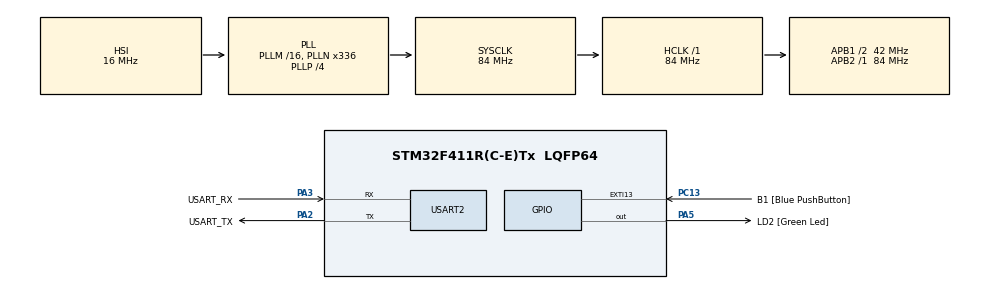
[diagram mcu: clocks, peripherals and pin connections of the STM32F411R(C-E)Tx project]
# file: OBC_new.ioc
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FATFS._MAX_SS=512
FATFS._MIN_SS=512
FATFS._USE_FASTSEEK=0
FATFS._USE_MUTEX=1
FREERTOS.BinarySemaphores01=file_semaphore,Static,file_semaphoreControlBlock,
FREERTOS.Mutexes01=myFileMutex,Static,myFileMutexControlBlock,Depleted;myPrintMutex,Static,myPrintMutexControlBlock,Depleted
FREERTOS.Queues01=commandQueue,16,uint16_t,0,Static,commandQueueBuffer,commandQueueControlBlock;dataQueue,16,uint16_t,0,Static,dataQueueBuffer,dataQueueControlBlock;TTQ,16,uint16_t,0,Static,TTQBuffer,TTQControlBlock;errorQueue,16,uint16_t,0,Static,errorQueueBuffer,errorQueueControlBlock;TC,16,uint16_t,0,Static,TCBuffer,TCControlBlock;GsQueue,16,uint16_t,0,Static,GsQueueBuffer,GsQueueControlBlock
FREERTOS.Tasks01=defaultTask,24,128,StartDefaultTask,Default,NULL,Dynamic,NULL,NULL;FAT_w_task,24,512,StartTask_FAT_w,Default,NULL,Static,FAT_w_task_Buffer,FAT_w_task_ControlBlock;FAT_r_task,24,512,StartTask_FAT_r,Default,NULL,Static,Task_FAT_r_Buffer,Task_FAT_r_ControlBlock;communTask,24,512,StartTask_communTask,Default,NULL,Static,communTaskBuffer,communTaskControlBlock;cmdHandleTask,24,512,StartTask_cmdHandle,Default,NULL,Static,cmdHandleTaskBuffer,cmdHandleTaskControlBlock
FREERTOS.Timers01=DetumblingTimer,Callback01,osTimerPeriodic,Default,NULL,Static,DetumblingTimerControlBlock;MasterTimer,Callback02,osTimerPeriodic,Default,NULL,Static,MasterControlBlock
FREERTOS.configUSE_NEWLIB_REENTRANT=1
Mcu.Family=STM32F4
Mcu.Name=STM32F411R(C-E)Tx
Mcu.Package=LQFP64
NVIC.PriorityGroup=NVIC_PRIORITYGROUP_4
NVIC.TIM1_UP_TIM10_IRQn=true\:15\:0\:false\:false\:true\:false\:false\:true\:true
NVIC.TimeBase=TIM1_UP_TIM10_IRQn
NVIC.TimeBaseIP=TIM1
NVIC.USART2_IRQn=true\:5\:0\:false\:false\:true\:true\:true\:true\:true
PA13.GPIO_Label=TMS
PA13.Mode=Serial_Wire
PA13.Signal=SYS_JTMS-SWDIO
PA14.GPIO_Label=TCK
PA14.Mode=Serial_Wire
PA14.Signal=SYS_JTCK-SWCLK
PA2.GPIO_Label=USART_TX
PA2.Mode=Asynchronous
PA2.Signal=USART2_TX
PA3.GPIO_Label=USART_RX
PA3.Mode=Asynchronous
PA3.Signal=USART2_RX
PA5.GPIO_Label=LD2 [Green Led]
PA5.Signal=GPIO_Output
PB3.GPIO_Label=SWO
PB3.Signal=SYS_JTDO-SWO
PC13-ANTI_TAMP.GPIO_Label=B1 [Blue PushButton]
PC13-ANTI_TAMP.GPIO_ModeDefaultEXTI=GPIO_MODE_IT_FALLING
PC13-ANTI_TAMP.Signal=GPXTI13
PC14-OSC32_IN.Mode=LSE-External-Oscillator
PC14-OSC32_IN.Signal=RCC_OSC32_IN
PC15-OSC32_OUT.Mode=LSE-External-Oscillator
PC15-OSC32_OUT.Signal=RCC_OSC32_OUT
PH0\ -\ OSC_IN.Mode=HSE-External-Clock-Source
PH0\ -\ OSC_IN.Signal=RCC_OSC_IN
PH1\ -\ OSC_OUT.Mode=HSE-External-Clock-Source
PH1\ -\ OSC_OUT.Signal=RCC_OSC_OUT
ProjectManager.HeapSize=0x200
ProjectManager.StackSize=0x400
ProjectManager.TargetToolchain=STM32CubeIDE
RCC.48MHZClocksFreq_Value=84000000
RCC.AHBFreq_Value=84000000
RCC.APB1CLKDivider=RCC_HCLK_DIV2
RCC.APB1Freq_Value=42000000
RCC.APB1TimFreq_Value=84000000
RCC.APB2Freq_Value=84000000
RCC.APB2TimFreq_Value=84000000
RCC.CortexFreq_Value=84000000
RCC.FLatency-AdvancedSettings=FLASH_LATENCY_2
RCC.HCLKFreq_Value=84000000
RCC.HSE_VALUE=8000000
RCC.HSI_VALUE=16000000
RCC.PLLN=336
RCC.PLLP=RCC_PLLP_DIV4
RCC.SYSCLKFreq_VALUE=84000000
RCC.SYSCLKSource=RCC_SYSCLKSOURCE_PLLCLK
RCC.VCOOutputFreq_Value=336000000
RTC.Date=25
RTC.Month=RTC_MONTH_FEBRUARY
RTC.WeekDay=RTC_WEEKDAY_TUESDAY
RTC.Year=25
USART2.VirtualMode=VM_ASYNC
VP_FATFS_VS_Generic.Mode=User_defined
VP_FREERTOS_VS_CMSIS_V2.Mode=CMSIS_V2
VP_RTC_VS_RTC_Activate.Mode=RTC_Enabled
VP_RTC_VS_RTC_Calendar.Mode=RTC_Calendar
VP_SYS_VS_tim1.Mode=TIM1
board=NUCLEO-F411RE

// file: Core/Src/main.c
/* USER CODE BEGIN Header */
/**
  ******************************************************************************
  * @file           : main.c
  * @brief          : Main program body
  ******************************************************************************
  * @attention
  *
  * Copyright (c) 2024 STMicroelectronics.
  * All rights reserved.
  *
  * This software is licensed under terms that can be found in the LICENSE file
  * in the root directory of this software component.
  * If no LICENSE file comes with this software, it is provided AS-IS.
  *
  ******************************************************************************
  */
/* USER CODE END Header */
#include "main.h"
#include "cmsis_os.h"
#include "fatfs.h"

/* USER CODE BEGIN Includes */
#include <stdio.h>
#include <stdarg.h>  // Required for va_list, va_start, va_end
#include <csp/csp.h>
#include <csp/interfaces/csp_if_lo.h>
/* USER CODE END Includes */

typedef StaticTask_t osStaticThreadDef_t;
typedef StaticQueue_t osStaticMessageQDef_t;
typedef StaticTimer_t osStaticTimerDef_t;
typedef StaticSemaphore_t osStaticMutexDef_t;
typedef StaticSemaphore_t osStaticSemaphoreDef_t;

RTC_HandleTypeDef hrtc;

UART_HandleTypeDef huart2;

/* Definitions for defaultTask */
osThreadId_t defaultTaskHandle;
const osThreadAttr_t defaultTask_attributes = {
  .name = "defaultTask",
  .stack_size = 128 * 4,
  .priority = (osPriority_t) osPriorityNormal,
};
/* Definitions for FAT_w_task */
osThreadId_t FAT_w_taskHandle;
uint32_t FAT_w_task_Buffer[ 512 ];
osStaticThreadDef_t FAT_w_task_ControlBlock;
const osThreadAttr_t FAT_w_task_attributes = {
  .name = "FAT_w_task",
  .cb_mem = &FAT_w_task_ControlBlock,
  .cb_size = sizeof(FAT_w_task_ControlBlock),
  .stack_mem = &FAT_w_task_Buffer[0],
  .stack_size = sizeof(FAT_w_task_Buffer),
  .priority = (osPriority_t) osPriorityNormal,
};
/* Definitions for FAT_r_task */
osThreadId_t FAT_r_taskHandle;
uint32_t Task_FAT_r_Buffer[ 512 ];
osStaticThreadDef_t Task_FAT_r_ControlBlock;
const osThreadAttr_t FAT_r_task_attributes = {
  .name = "FAT_r_task",
  .cb_mem = &Task_FAT_r_ControlBlock,
  .cb_size = sizeof(Task_FAT_r_ControlBlock),
  .stack_mem = &Task_FAT_r_Buffer[0],
  .stack_size = sizeof(Task_FAT_r_Buffer),
  .priority = (osPriority_t) osPriorityNormal,
};
/* Definitions for communTask */
osThreadId_t communTaskHandle;
uint32_t communTaskBuffer[ 512 ];
osStaticThreadDef_t communTaskControlBlock;
const osThreadAttr_t communTask_attributes = {
  .name = "communTask",
  .cb_mem = &communTaskControlBlock,
  .cb_size = sizeof(communTaskControlBlock),
  .stack_mem = &communTaskBuffer[0],
  .stack_size = sizeof(communTaskBuffer),
  .priority = (osPriority_t) osPriorityNormal,
};
/* Definitions for cmdHandleTask */
osThreadId_t cmdHandleTaskHandle;
uint32_t cmdHandleTaskBuffer[ 512 ];
osStaticThreadDef_t cmdHandleTaskControlBlock;
const osThreadAttr_t cmdHandleTask_attributes = {
  .name = "cmdHandleTask",
  .cb_mem = &cmdHandleTaskControlBlock,
  .cb_size = sizeof(cmdHandleTaskControlBlock),
  .stack_mem = &cmdHandleTaskBuffer[0],
  .stack_size = sizeof(cmdHandleTaskBuffer),
  .priority = (osPriority_t) osPriorityNormal,
};
/* Definitions for commandQueue */
osMessageQueueId_t commandQueueHandle;
uint8_t commandQueueBuffer[ 16 * sizeof( uint16_t ) ];
osStaticMessageQDef_t commandQueueControlBlock;
const osMessageQueueAttr_t commandQueue_attributes = {
  .name = "commandQueue",
  .cb_mem = &commandQueueControlBlock,
  .cb_size = sizeof(commandQueueControlBlock),
  .mq_mem = &commandQueueBuffer,
  .mq_size = sizeof(commandQueueBuffer)
};
/* Definitions for dataQueue */
osMessageQueueId_t dataQueueHandle;
uint8_t dataQueueBuffer[ 16 * sizeof( uint16_t ) ];
osStaticMessageQDef_t dataQueueControlBlock;
const osMessageQueueAttr_t dataQueue_attributes = {
  .name = "dataQueue",
  .cb_mem = &dataQueueControlBlock,
  .cb_size = sizeof(dataQueueControlBlock),
  .mq_mem = &dataQueueBuffer,
  .mq_size = sizeof(dataQueueBuffer)
};
/* Definitions for TTQ */
osMessageQueueId_t TTQHandle;
uint8_t TTQBuffer[ 16 * sizeof( uint16_t ) ];
osStaticMessageQDef_t TTQControlBlock;
const osMessageQueueAttr_t TTQ_attributes = {
  .name = "TTQ",
  .cb_mem = &TTQControlBlock,
  .cb_size = sizeof(TTQControlBlock),
  .mq_mem = &TTQBuffer,
  .mq_size = sizeof(TTQBuffer)
};
/* Definitions for errorQueue */
osMessageQueueId_t errorQueueHandle;
uint8_t errorQueueBuffer[ 16 * sizeof( uint16_t ) ];
osStaticMessageQDef_t errorQueueControlBlock;
const osMessageQueueAttr_t errorQueue_attributes = {
  .name = "errorQueue",
  .cb_mem = &errorQueueControlBlock,
  .cb_size = sizeof(errorQueueControlBlock),
  .mq_mem = &errorQueueBuffer,
  .mq_size = sizeof(errorQueueBuffer)
};
/* Definitions for TC */
osMessageQueueId_t TCHandle;
uint8_t TCBuffer[ 16 * sizeof( uint16_t ) ];
osStaticMessageQDef_t TCControlBlock;
const osMessageQueueAttr_t TC_attributes = {
  .name = "TC",
  .cb_mem = &TCControlBlock,
  .cb_size = sizeof(TCControlBlock),
  .mq_mem = &TCBuffer,
  .mq_size = sizeof(TCBuffer)
};
/* Definitions for GsQueue */
osMessageQueueId_t GsQueueHandle;
uint8_t GsQueueBuffer[ 16 * sizeof( uint16_t ) ];
osStaticMessageQDef_t GsQueueControlBlock;
const osMessageQueueAttr_t GsQueue_attributes = {
  .name = "GsQueue",
  .cb_mem = &GsQueueControlBlock,
  .cb_size = sizeof(GsQueueControlBlock),
  .mq_mem = &GsQueueBuffer,
  .mq_size = sizeof(GsQueueBuffer)
};
/* Definitions for DetumblingTimer */
osTimerId_t DetumblingTimerHandle;
osStaticTimerDef_t DetumblingTimerControlBlock;
const osTimerAttr_t DetumblingTimer_attributes = {
  .name = "DetumblingTimer",
  .cb_mem = &DetumblingTimerControlBlock,
  .cb_size = sizeof(DetumblingTimerControlBlock),
};
/* Definitions for MasterTimer */
osTimerId_t MasterTimerHandle;
osStaticTimerDef_t MasterControlBlock;
const osTimerAttr_t MasterTimer_attributes = {
  .name = "MasterTimer",
  .cb_mem = &MasterControlBlock,
  .cb_size = sizeof(MasterControlBlock),
};
/* Definitions for myFileMutex */
osMutexId_t myFileMutexHandle;
osStaticMutexDef_t myFileMutexControlBlock;
const osMutexAttr_t myFileMutex_attributes = {
  .name = "myFileMutex",
  .cb_mem = &myFileMutexControlBlock,
  .cb_size = sizeof(myFileMutexControlBlock),
};
/* Definitions for myPrintMutex */
osMutexId_t myPrintMutexHandle;
osStaticMutexDef_t myPrintMutexControlBlock;
const osMutexAttr_t myPrintMutex_attributes = {
  .name = "myPrintMutex",
  .cb_mem = &myPrintMutexControlBlock,
  .cb_size = sizeof(myPrintMutexControlBlock),
};
/* Definitions for file_semaphore */
osSemaphoreId_t file_semaphoreHandle;
osStaticSemaphoreDef_t file_semaphoreControlBlock;
const osSemaphoreAttr_t file_semaphore_attributes = {
  .name = "file_semaphore",
  .cb_mem = &file_semaphoreControlBlock,
  .cb_size = sizeof(file_semaphoreControlBlock),
};

void SystemClock_Config(void);
static void MX_GPIO_Init(void);
static void MX_USART2_UART_Init(void);
static void MX_RTC_Init(void);
void StartDefaultTask(void *argument);
void StartTask_FAT_w(void *argument);
void StartTask_FAT_r(void *argument);
void StartTask_communTask(void *argument);
void StartTask_cmdHandle(void *argument);
void Callback01(void *argument);
void Callback02(void *argument);

int main(void)
{

  /* USER CODE BEGIN 1 */

  // Statuses and flags of the subsystems of the satellite
  typedef struct {

    // Modes of the satellite
    enum Cubesat_Mode {
      STARTING,
      REBOOTING,
      NOMINAL,
      SAFE,
      GERROR, // General error
      WARNING
    }cubesat_mode;

    // Attitude Determination and Control System
    struct ADCS {
      enum Mode {
        ADCS_DETUMBLING,
        ADCS_NOMINAL,
        ADCS_SAFE,
        ADCS_COARSE,
        ADCS_POINTING,
        ADCS_PRECISE,
      }mode;
      bool isEssential;
    }adcs;

    // Electrical Power System
    struct EPS {
      bool isEssential;
    }eps;

    // Thermal Control System
    struct TCS {
      bool isEssential;
    }tcs;

    // Telemetry, Tracking, and Command
    struct TTC {
      bool isEssential;
    }ttc;

    // OnBoard Computer
    struct OBC {
      bool isEssential;
    }obc;
  } Subsystems;

  // Payload struct
  typedef struct
  {
    enum Payload_Status
    {
      PAYLOAD_ON,
      PAYLOAD_OFF,
      PAYLOAD_WARNING,
      PAYLOAD_GERROR // General error
    }payload_status;

    struct QPL
    {
      char data[50];
      enum Payload_Status status;
    }qpl;

    struct IS
    {
      char data[50];
      enum Payload_Status status;
    }is;

    struct MVS
    {
      char data[50];
      enum Payload_Status status;
    }mvs;

  } Payloads;

  /* USER CODE END 1 */

  /* MCU Configuration--------------------------------------------------------*/

  /* Reset of all peripherals, Initializes the Flash interface and the Systick. */
  HAL_Init();

  /* Configure the system clock */
  SystemClock_Config();

  /* Initialize all configured peripherals */
  MX_GPIO_Init();
  MX_USART2_UART_Init();
  MX_FATFS_Init();
  MX_RTC_Init();
  /* USER CODE BEGIN 2 */

  // Initialize CSP
  csp_init();  // Initialize the CSP protocol stack

  // Initialize CSP buffer system
  csp_buffer_init();

  // Configure the CSP routing table to use the loopback interface
  csp_rtable_set(0, 0, &csp_if_lo, CSP_NO_VIA_ADDRESS);  // Route all packets to the loopback interface

  // Create mutex before mounting
  myFileMutexHandle = osMutexNew(&myFileMutex_attributes);
  if(myFileMutexHandle == NULL)
  {
      Error_Handler();
  }

  // Mount filesystem
  FATFS fs;
  FRESULT fres;

  /* Use "0:" to specify drive number 0 for RAM disk */
  fres = f_mount(&fs, "0:", 1);
  if (fres == FR_NO_FILESYSTEM) {
      printf("No filesystem found. Formatting...\r\n");

      // Define a static work buffer to avoid stack overflow
      #define MKFS_WORK_BUFFER_SIZE  4096
      static BYTE mkfs_work_buffer[MKFS_WORK_BUFFER_SIZE];

      /*
       * Filesystem Formatting and RAM Disk Configuration
       * ------------------------------------------------
       * Problem:
       *  - `f_mkfs()` was failing with `FR_MKFS_ABORTED` because the volume size was too small after
       *    reserving 63 sectors for partitioning (when not using the super floppy format).
       *
       * Solution:
       * 1. Use Super Floppy Format (`FM_SFD`):
       *    - This avoids reserving 63 sectors by starting the volume at sector 0 (no partition table).
       *    - This ensures the full number of sectors is available for the filesystem.
       *
       * 2. Increase Sector Count:
       *    - FAT requires a minimum of 128 sectors. The RAM disk was increased to 150 sectors to satisfy this requirement.
       *
       * 3. Sector Size:
       *    - The sector size is set to 512 bytes, which is standard for FAT filesystems.
       *    - With 150 sectors of 512 bytes, the total size of the RAM disk is ~75KB, sufficient for FAT12/FAT16.
       *
       * `f_mkfs()` Call:
       *  - "0:" specifies the RAM disk.
       *  - `FM_FAT | FM_SFD` selects the FAT type automatically and uses the super floppy format.
       *  - `0` lets FatFs choose the optimal cluster size.
       *  - `mkfs_work_buffer` is a 4096-byte buffer used for formatting.
       *
       */

      // Format the RAM disk with best FAT
      fres = f_mkfs("0:", FM_FAT | FM_SFD, 0, mkfs_work_buffer, MKFS_WORK_BUFFER_SIZE);
      if (fres == FR_OK) {
          printf("Format successful. Mounting again...\r\n");
          fres = f_mount(&fs, "0:", 1);
          if (fres == FR_OK) {
              printf("f_mount succeeded after formatting.\r\n");
          } else {
              printf("f_mount error after formatting (%i)\r\n", fres);
              Error_Handler();
          }
      } else {
          printf("f_mkfs error (%i)\r\n", fres);
          Error_Handler();
      }
  }
  else if (fres != FR_OK)
  {
      printf("f_mount error (%i)\r\n", fres);
      Error_Handler();
  }
  else
  {
      printf("f_mount succeeded.\r\n");
  }

  /* Optional: Test File Operations */
  FIL file;
  UINT bw;
  FRESULT res;

  // Create and Write to a file
  res = f_open(&file, "0:/test.txt", FA_WRITE | FA_CREATE_ALWAYS);
  if (res == FR_OK) {
      char data[] = "Hello, RAM Disk!";
      res = f_write(&file, data, sizeof(data), &bw);
      if (res == FR_OK && bw == sizeof(data)) {
          printf("Write successful.\r\n");
      } else {
          printf("Write failed (%i)\r\n", res);
      }
      f_close(&file);
  } else {
      printf("f_open failed (%i)\r\n", res);
  }

  // Read from the file
  res = f_open(&file, "0:/test.txt", FA_READ);
  if (res == FR_OK) {
      char read_data[50];
      UINT br;
      res = f_read(&file, read_data, sizeof(read_data)-1, &br);
      if (res == FR_OK) {
          read_data[br] = '\0'; // Null-terminate the string
          printf("Read data: %s\r\n", read_data);
      } else {
          printf("Read failed (%i)\r\n", res);
      }
      f_close(&file);
  } else {
      printf("f_open failed (%i)\r\n", res);
  }

  // Delete the file
  res = f_unlink("0:/test.txt");
  if (res == FR_OK) {
      printf("Deleted test.txt successfully.\r\n");
  } else {
      printf("Deleting test.txt failed (%i)\r\n", res);
  }
  /* USER CODE END 2 */

  /* Init scheduler */
  osKernelInitialize();
  /* Create the mutex(es) */
  /* creation of myFileMutex */
  myFileMutexHandle = osMutexNew(&myFileMutex_attributes);

  /* creation of myPrintMutex */
  myPrintMutexHandle = osMutexNew(&myPrintMutex_attributes);

  /* Create the semaphores(s) */
  /* creation of file_semaphore */
  file_semaphoreHandle = osSemaphoreNew(1, 0, &file_semaphore_attributes);

  /* Create the timer(s) */
  /* creation of DetumblingTimer */
  DetumblingTimerHandle = osTimerNew(Callback01, osTimerPeriodic, NULL, &DetumblingTimer_attributes);

  /* creation of MasterTimer */
  MasterTimerHandle = osTimerNew(Callback02, osTimerPeriodic, NULL, &MasterTimer_attributes);

  /* Create the queue(s) */
  /* creation of commandQueue */
  commandQueueHandle = osMessageQueueNew (16, sizeof(uint16_t), &commandQueue_attributes);

  /* creation of dataQueue */
  dataQueueHandle = osMessageQueueNew (16, sizeof(uint16_t), &dataQueue_attributes);

  /* creation of TTQ */
  TTQHandle = osMessageQueueNew (16, sizeof(uint16_t), &TTQ_attributes);

  /* creation of errorQueue */
  errorQueueHandle = osMessageQueueNew (16, sizeof(uint16_t), &errorQueue_attributes);

  /* creation of TC */
  TCHandle = osMessageQueueNew (16, sizeof(uint16_t), &TC_attributes);

  /* creation of GsQueue */
  GsQueueHandle = osMessageQueueNew (16, sizeof(uint16_t), &GsQueue_attributes);

  /* Create the thread(s) */
  /* creation of defaultTask */
  defaultTaskHandle = osThreadNew(StartDefaultTask, NULL, &defaultTask_attributes);

  /* creation of FAT_w_task */
  FAT_w_taskHandle = osThreadNew(StartTask_FAT_w, NULL, &FAT_w_task_attributes);

  /* creation of FAT_r_task */
  FAT_r_taskHandle = osThreadNew(StartTask_FAT_r, NULL, &FAT_r_task_attributes);

  /* creation of communTask */
  communTaskHandle = osThreadNew(StartTask_communTask, NULL, &communTask_attributes);

  /* creation of cmdHandleTask */
  cmdHandleTaskHandle = osThreadNew(StartTask_cmdHandle, NULL, &cmdHandleTask_attributes);

  /* Start scheduler */
  osKernelStart();

  /* We should never get here as control is now taken by the scheduler */

  /* Infinite loop */
  while (1)
  {

  }
}

void SystemClock_Config(void)
{
  RCC_OscInitTypeDef RCC_OscInitStruct = {0};
  RCC_ClkInitTypeDef RCC_ClkInitStruct = {0};

  /** Configure the main internal regulator output voltage
  */
  __HAL_RCC_PWR_CLK_ENABLE();
  __HAL_PWR_VOLTAGESCALING_CONFIG(PWR_REGULATOR_VOLTAGE_SCALE1);

  /** Initializes the RCC Oscillators according to the specified parameters
  * in the RCC_OscInitTypeDef structure.
  */
  RCC_OscInitStruct.OscillatorType = RCC_OSCILLATORTYPE_HSI|RCC_OSCILLATORTYPE_LSI;
  RCC_OscInitStruct.HSIState = RCC_HSI_ON;
  RCC_OscInitStruct.HSICalibrationValue = RCC_HSICALIBRATION_DEFAULT;
  RCC_OscInitStruct.LSIState = RCC_LSI_ON;
  RCC_OscInitStruct.PLL.PLLState = RCC_PLL_ON;
  RCC_OscInitStruct.PLL.PLLSource = RCC_PLLSOURCE_HSI;
  RCC_OscInitStruct.PLL.PLLM = 16;
  RCC_OscInitStruct.PLL.PLLN = 336;
  RCC_OscInitStruct.PLL.PLLP = RCC_PLLP_DIV4;
  RCC_OscInitStruct.PLL.PLLQ = 4;
  if (HAL_RCC_OscConfig(&RCC_OscInitStruct) != HAL_OK)
  {
    Error_Handler();
  }

  /** Initializes the CPU, AHB and APB buses clocks
  */
  RCC_ClkInitStruct.ClockType = RCC_CLOCKTYPE_HCLK|RCC_CLOCKTYPE_SYSCLK
                              |RCC_CLOCKTYPE_PCLK1|RCC_CLOCKTYPE_PCLK2;
  RCC_ClkInitStruct.SYSCLKSource = RCC_SYSCLKSOURCE_PLLCLK;
  RCC_ClkInitStruct.AHBCLKDivider = RCC_SYSCLK_DIV1;
  RCC_ClkInitStruct.APB1CLKDivider = RCC_HCLK_DIV2;
  RCC_ClkInitStruct.APB2CLKDivider = RCC_HCLK_DIV1;

  if (HAL_RCC_ClockConfig(&RCC_ClkInitStruct, FLASH_LATENCY_2) != HAL_OK)
  {
    Error_Handler();
  }
}

static void MX_RTC_Init(void)
{

  RTC_TimeTypeDef sTime = {0};
  RTC_DateTypeDef sDate = {0};

  /** Initialize RTC Only
  */
  hrtc.Instance = RTC;
  hrtc.Init.HourFormat = RTC_HOURFORMAT_24;
  hrtc.Init.AsynchPrediv = 127;
  hrtc.Init.SynchPrediv = 255;
  hrtc.Init.OutPut = RTC_OUTPUT_DISABLE;
  hrtc.Init.OutPutPolarity = RTC_OUTPUT_POLARITY_HIGH;
  hrtc.Init.OutPutType = RTC_OUTPUT_TYPE_OPENDRAIN;
  if (HAL_RTC_Init(&hrtc) != HAL_OK)
  {
    Error_Handler();
  }

  /** Initialize RTC and set the Time and Date
  */
  sTime.Hours = 0x0;
  sTime.Minutes = 0x0;
  sTime.Seconds = 0x0;
  sTime.DayLightSaving = RTC_DAYLIGHTSAVING_NONE;
  sTime.StoreOperation = RTC_STOREOPERATION_RESET;
  if (HAL_RTC_SetTime(&hrtc, &sTime, RTC_FORMAT_BCD) != HAL_OK)
  {
    Error_Handler();
  }
  sDate.WeekDay = RTC_WEEKDAY_TUESDAY;
  sDate.Month = RTC_MONTH_FEBRUARY;
  sDate.Date = 0x25;
  sDate.Year = 0x25;

  if (HAL_RTC_SetDate(&hrtc, &sDate, RTC_FORMAT_BCD) != HAL_OK)
  {
    Error_Handler();
  }

}

static void MX_USART2_UART_Init(void)
{

  huart2.Instance = USART2;
  huart2.Init.BaudRate = 115200;
  huart2.Init.WordLength = UART_WORDLENGTH_8B;
  huart2.Init.StopBits = UART_STOPBITS_1;
  huart2.Init.Parity = UART_PARITY_NONE;
  huart2.Init.Mode = UART_MODE_TX_RX;
  huart2.Init.HwFlowCtl = UART_HWCONTROL_NONE;
  huart2.Init.OverSampling = UART_OVERSAMPLING_16;
  if (HAL_UART_Init(&huart2) != HAL_OK)
  {
    Error_Handler();
  }

}

static void MX_GPIO_Init(void)
{
  GPIO_InitTypeDef GPIO_InitStruct = {0};

  /* GPIO Ports Clock Enable */
  __HAL_RCC_GPIOC_CLK_ENABLE();
  __HAL_RCC_GPIOH_CLK_ENABLE();
  __HAL_RCC_GPIOA_CLK_ENABLE();
  __HAL_RCC_GPIOB_CLK_ENABLE();

  /*Configure GPIO pin Output Level */
  HAL_GPIO_WritePin(LD2_GPIO_Port, LD2_Pin, GPIO_PIN_RESET);

  /*Configure GPIO pin : B1_Pin */
  GPIO_InitStruct.Pin = B1_Pin;
  GPIO_InitStruct.Mode = GPIO_MODE_IT_FALLING;
  GPIO_InitStruct.Pull = GPIO_NOPULL;
  HAL_GPIO_Init(B1_GPIO_Port, &GPIO_InitStruct);

  /*Configure GPIO pin : LD2_Pin */
  GPIO_InitStruct.Pin = LD2_Pin;
  GPIO_InitStruct.Mode = GPIO_MODE_OUTPUT_PP;
  GPIO_InitStruct.Pull = GPIO_NOPULL;
  GPIO_InitStruct.Speed = GPIO_SPEED_FREQ_LOW;
  HAL_GPIO_Init(LD2_GPIO_Port, &GPIO_InitStruct);

}

/* USER CODE BEGIN 4 */
// These functions redirect output to UART
int __io_putchar(int ch)
{
  HAL_UART_Transmit(&huart2, (uint8_t *)&ch, 1, HAL_MAX_DELAY);
  return ch;
}

int _write(int file, char *ptr, int len)
{
  int DataIdx;
  for (DataIdx = 0; DataIdx < len; DataIdx++)
  {
    __io_putchar(*ptr++);
  }
  return len;
}

// Thread safe print function
void safePrint(const char* format, ...) {
    va_list args;
    RTC_TimeTypeDef sTime;
    RTC_DateTypeDef sDate;
    char timestamp[32];

    // Acquire the print mutex before printing
    if (osMutexAcquire(myPrintMutexHandle, osWaitForever) == osOK) {
    	 // Get current time and date
		HAL_RTC_GetTime(&hrtc, &sTime, RTC_FORMAT_BIN);
		HAL_RTC_GetDate(&hrtc, &sDate, RTC_FORMAT_BIN); // Need to call GetDate after GetTime

		// Format timestamp
        sprintf(timestamp, "[%02d-%02d-%02d %02d:%02d:%02d] ",
                sDate.Year, sDate.Month, sDate.Date,
                sTime.Hours, sTime.Minutes, sTime.Seconds);

        // Print timestamp
        printf("%s", timestamp);

        va_start(args, format);
        vprintf(format, args);  // Use vprintf to handle variable arguments
        va_end(args);

        // Release the print mutex after printing
        osMutexRelease(myPrintMutexHandle);
    } else {
        // Handle mutex acquisition failure (optional)
        printf("Failed to acquire print mutex!\n\r");
    }
}
/* USER CODE END 4 */

void StartDefaultTask(void *argument)
{
  for(;;)
  {
    osDelay(1);
  }
}

void StartTask_FAT_w(void *argument)
{
  /* USER CODE BEGIN StartTask_FAT_w */
  FIL file;
  FRESULT fres;
  UINT bw; // Bytes written

  char write_data[] = "Hello, this is a FAT test!\n";

  /* Infinite loop */
  for(;;)
  {
    // Wait for the mutex before accessing the file
    if (osMutexAcquire(myFileMutexHandle, osWaitForever) == osOK)
    {
      // Open or create the file for writing
      fres = f_open(&file, "0:/test.txt", FA_WRITE | FA_CREATE_ALWAYS);
      if (fres == FR_OK) {
        // Write data to the file
        fres = f_write(&file, write_data, sizeof(write_data) - 1, &bw);
        if (fres == FR_OK && bw == sizeof(write_data) - 1) {
          safePrint("FAT_w_task: Data written successfully.\r\n");
        } else {
          safePrint("FAT_w_task: Write error! Error code: %d\r\n", fres);
        }

        // Close the file after writing
        f_close(&file);
      } else {
        safePrint("FAT_w_task: f_open failed! Error code: %d\r\n", fres);
      }

      // Release the mutex after accessing the file
      osMutexRelease(myFileMutexHandle);

      // Signal the read task that the file is ready after mutex release
      osSemaphoreRelease(file_semaphoreHandle);
    }

    // Delay before the next write operation
    osDelay(5000); // Write every 5 seconds
  }
  /* USER CODE END StartTask_FAT_w */
}

void StartTask_FAT_r(void *argument)
{
  /* USER CODE BEGIN StartTask_FAT_r */
  FIL file;
  FRESULT fres;
  UINT br; // Bytes read
  char read_data[128]; // Buffer to hold read data

  /* Infinite loop */
  for(;;)
  {
    // Wait for the semaphore signal from the write task
    if (osSemaphoreAcquire(file_semaphoreHandle, osWaitForever) == osOK)
    {
      // After receiving the semaphore, acquire the mutex before reading the file
      if (osMutexAcquire(myFileMutexHandle, osWaitForever) == osOK)
      {
        // Open the file for reading
        fres = f_open(&file, "0:/test.txt", FA_READ);
        if (fres == FR_OK) {
          // Read data from the file
          fres = f_read(&file, read_data, sizeof(read_data) - 1, &br);
          if (fres == FR_OK) {
            read_data[br] = '\0'; // Null-terminate the string
            safePrint("FAT_r_task: Data read: %s\r\n", read_data);
          } else {
            safePrint("FAT_r_task: Read error! Error code: %d\r\n", fres);
          }

          // Close the file after reading
          f_close(&file);
        } else {
          safePrint("FAT_r_task: f_open failed! Error code: %d\r\n", fres);
        }

        // Release the mutex after file access
        osMutexRelease(myFileMutexHandle);
      }
    }

    // Delay before the next read operation
    osDelay(5000); // Read every 5 seconds
  }
  /* USER CODE END StartTask_FAT_r */
}

/* USER CODE BEGIN Header_StartTask_communTask */
/**
* @brief This task Receives commands and places them in the Command Queue.
* @param argument: Not used
* @retval None
*/
/* USER CODE END Header_StartTask_communTask */
void StartTask_communTask(void *argument)
{
  /* USER CODE BEGIN StartTask_communTask */

  /* Infinite loop */
  for(;;)
  {
	/* Simulate received command (e.g., command ID 1) */
	uint16_t command = 1;  // For example, command ID 1
	osMessageQueuePut(commandQueueHandle, &command, 0, osWaitForever);  // Send command to Command Queue

	osDelay(1000);  // Delay for next communication
  }
  /* USER CODE END StartTask_communTask */
}

void StartTask_cmdHandle(void *argument)
{
  /* USER CODE BEGIN StartTask_cmdHandle */
    uint16_t command;
  /* Infinite loop */
  for(;;)
  {
	/* Wait for a command in the Command Queue */
	if (osMessageQueueGet(commandQueueHandle, &command, NULL, osWaitForever) == osOK) {
	  /* Process the command and dispatch to payload tasks */
	  switch (command) {
		  case 1:
			  safePrint("Command 1 received, starting PayloadTask1.\n");
			  //osThreadNew(PayloadTask1, NULL, NULL);
			  break;
		  case 2:
			  safePrint("Command 2 received, starting PayloadTask2.\n");
			  //osThreadNew(PayloadTask2, NULL, NULL);
			  break;
		  default:
			  safePrint("Unknown command received: %lu\n", command);
			  break;
	  }
	}

	osDelay(100);  // Delay to avoid CPU overuse
  }
  /* USER CODE END StartTask_cmdHandle */
}

/* Callback01 function */
void Callback01(void *argument)
{
}

/* Callback02 function */
void Callback02(void *argument)
{
}

void HAL_TIM_PeriodElapsedCallback(TIM_HandleTypeDef *htim)
{
  if (htim->Instance == TIM1) {
    HAL_IncTick();
  }
}

void Error_Handler(void)
{
  __disable_irq();
  while (1)
  {
  }
}
